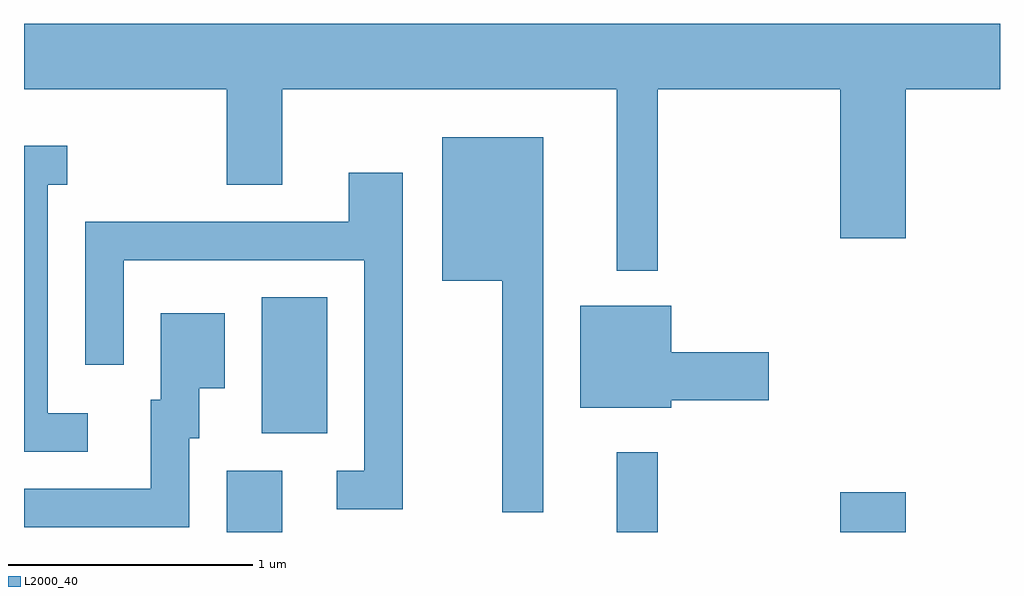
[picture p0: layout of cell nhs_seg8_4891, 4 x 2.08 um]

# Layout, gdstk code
import gdstk
lib = gdstk.Library(unit=1e-6, precision=1e-09)
def R(c, l, rs):  # rectangles x0, y0, x1, y1
    for r in rs: c.add(gdstk.rectangle(r[:2], r[2:], *l))
def P(c, l, *ps):  # polygons
    for p in ps: c.add(gdstk.Polygon(p, *l))
L2000_40 = (2000, 40)

nhs_seg8_4891 = lib.new_cell('nhs_seg8_4891')
R(nhs_seg8_4891, L2000_40, [(332.441,1872.342,332.669,1872.594), (334.041,1872.342,334.209,1872.668), (334.956,1872.342,335.224,1872.504), (332.586,1872.746,332.854,1873.304)])
P(nhs_seg8_4891, L2000_40, [(334.209,1874.156),(334.956,1874.156),(334.956,1873.546),(335.224,1873.546),(335.224,1874.156),(335.611,1874.156),(335.611,1874.424),(331.611,1874.424),(331.611,1874.156),(332.441,1874.156),(332.441,1873.766),(332.669,1873.766),(332.669,1874.156),(334.041,1874.156),(334.041,1873.413),(334.209,1873.413)],
  [(333.739,1873.959),(333.326,1873.959),(333.326,1873.371),(333.571,1873.371),(333.571,1872.423),(333.739,1872.423)],
  [(331.873,1872.829),(331.709,1872.829),(331.709,1873.766),(331.788,1873.766),(331.788,1873.924),(331.611,1873.924),(331.611,1872.671),(331.873,1872.671)],
  [(333.164,1873.814),(332.941,1873.814),(332.941,1873.614),(331.861,1873.614),(331.861,1873.028),(332.019,1873.028),(332.019,1873.456),(333.006,1873.456),(333.006,1872.594),(332.893,1872.594),(332.893,1872.436),(333.164,1872.436)],
  [(334.264,1872.881),(334.664,1872.881),(334.664,1873.079),(334.264,1873.079),(334.264,1873.269),(333.891,1873.269),(333.891,1872.851),(334.264,1872.851)],
  [(332.289,1872.726),(332.329,1872.726),(332.329,1872.931),(332.434,1872.931),(332.434,1873.239),(332.171,1873.239),(332.171,1872.884),(332.131,1872.884),(332.131,1872.519),(331.611,1872.519),(331.611,1872.361),(332.289,1872.361)])

lib.write_gds('nhs_seg8_4891.gds')
